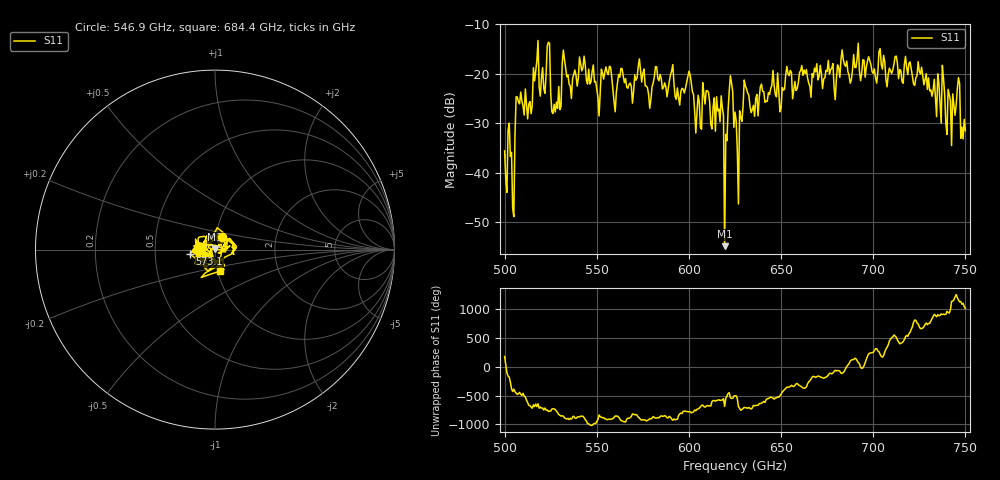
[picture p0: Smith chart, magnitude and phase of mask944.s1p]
!Created with skrf (http://scikit-rf.org).
# GHz S MA R 50.0
!freq magS11 angS11
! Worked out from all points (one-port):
!   401 points, 500 GHz to 750 GHz, reference 50 ohm
!   lowest |S11| = -54.8 dB at 619.4 GHz (marker M1), VSWR 1.00, Z = 50.2 + j0.0942 ohm
!   |S11| at or under -10 dB: start of sweep to end of sweep
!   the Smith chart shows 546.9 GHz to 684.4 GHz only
!   S11 on the Smith chart (normalised r, x): 546.9 GHz: 1.07, +0.16; 573.1 GHz: 0.76, -0.04; 684.4 GHz: 1.03, -0.25
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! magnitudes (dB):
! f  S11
! 500 GHz  -35.6
! 504.4 GHz  -47.1
! 507.5 GHz  -25.7
! 513.8 GHz  -25.6
! 516.9 GHz  -19.5
! 520.6 GHz  -18.8
! 523.8 GHz  -13.7
! 526.9 GHz  -26.2
! 531.2 GHz  -17.9
! 546.9 GHz  -21.6
! 562.5 GHz  -20.7
! 573.1 GHz  -17.0
! 593.8 GHz  -22.9
! 600 GHz  -19.5
! 605 GHz  -24.4
! 616.2 GHz  -27.2
! 619.4 GHz  -54.8
! 622.5 GHz  -20.4
! 625 GHz  -27.8
! 627.5 GHz  -27.5
! 631.2 GHz  -23.1
! 656.2 GHz  -25.1
! 684.4 GHz  -18.1
! 687.5 GHz  -21.9
! 718.8 GHz  -20.2
! 741.2 GHz  -24.3
! 745.6 GHz  -23.1
! 750 GHz  -31.5
